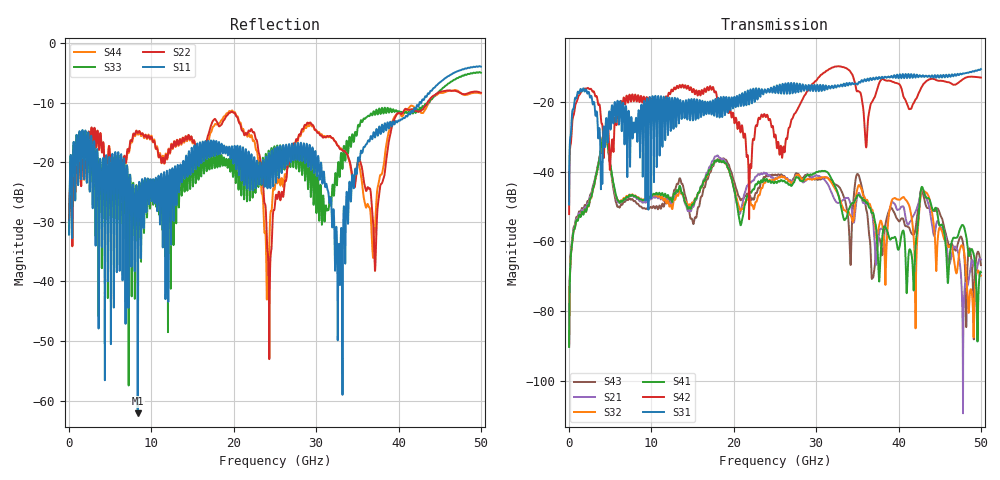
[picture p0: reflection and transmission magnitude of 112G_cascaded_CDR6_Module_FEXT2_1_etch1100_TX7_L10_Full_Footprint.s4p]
! Created Wed Feb 27 21:19:52 2019
# hz S ma R 50
! 4 Port Network Data from SP1.SP block
! freq  magS11  angS11  magS12  angS12  magS13  angS13  magS14  angS14
!  magS21  angS21  magS22  angS22  magS23  angS23  magS24  angS24
!  magS31  angS31  magS32  angS32  magS33  angS33  magS34  angS34
!  magS41  angS41  magS42  angS42  magS43  angS43  magS44  angS44
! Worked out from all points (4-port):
!   5000 points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, 10 MHz to 50 GHz, reference 50 ohm
!   strongest paths, dB at 10 MHz, 12.51 GHz, 25.01 GHz, 37.51 GHz, 50 GHz:
!     S31: -49.4, -18.9, -17.1, -13.4, -10.6
!     S42: -52.2, -16.7, -29.6, -15.7, -13.1
!     S41: -90.2, -48.7, -42.9, -64.9, -68.8
!     S32: -90.2, -50.7, -42.1, -57.0, -69.8
!     S21: -89.7, -49.8, -41.9, -60.0, -65.2
!     S43: -89.3, -48.1, -40.8, -59.1, -66.8
!   lowest |S11| = -62.1 dB at 8.34 GHz (marker M1), VSWR 1.00, Z = 49.9 + j0.00521 ohm
!   |S11| at or under -10 dB: start of sweep to 42.54 GHz; 42.63794 GHz to 42.76739 GHz (129.5 MHz wide, 0.303 % of centre)
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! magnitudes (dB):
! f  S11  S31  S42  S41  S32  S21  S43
! 10 MHz  -32.1  -49.4  -52.2  -90.2  -90.2  -89.7  -89.3
! 1.4 GHz  -19.5  -16.3  -17.5  -53.0  -52.9  -52.3  -51.8
! 4.29 GHz  -24.3  -29.3  -32.2  -27.8  -28.1  -27.8  -28.0
! 8.34 GHz  -62.1  -27.7  -18.3  -47.4  -47.3  -47.8  -49.2
! 24.32 GHz  -19.2  -17.3  -25.1  -42.6  -42.4  -41.0  -40.9
! 32.76 GHz  -33.7  -15.6  -9.9  -47.2  -47.1  -49.0  -44.3
! 50 GHz  -4.0  -10.6  -13.1  -68.8  -69.8  -65.2  -66.8
